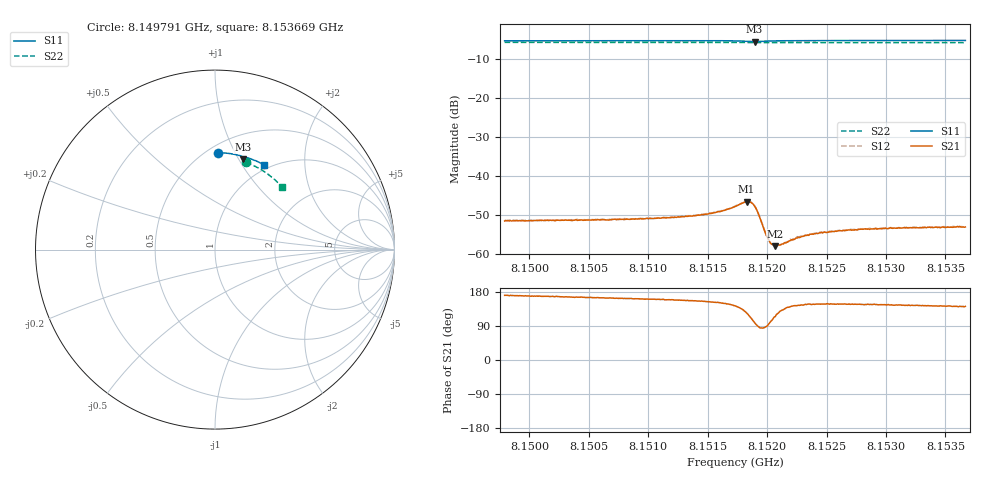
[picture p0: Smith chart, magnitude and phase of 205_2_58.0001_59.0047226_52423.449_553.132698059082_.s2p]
#  HZ  S  RI  R  50.00
! Rohde & Schwarz Vector Network Analyzer
! Rohde-Schwarz,ZNB20-2Port,1311601062101988,3.16
! Created: UTC 3/21/2024, 12:59:24 AM
! freq[Hz]  re:S11  im:S11  re:S21  im:S21  re:S12  im:S12  re:S22  im:S22
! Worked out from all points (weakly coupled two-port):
!   401 points, 8.149791 GHz to 8.153669 GHz, reference 50 ohm
!   highest |S21| = -46.66 dB at 8.151827 GHz (marker M1); lowest = -58.1 dB at 8.152069 GHz (marker M2)
!   lowest |S11| = -5.6 dB at 8.151895 GHz (marker M3), VSWR 3.23, Z = 37.3 + j52 ohm
!   |S11| at or under -10 dB: nowhere
!   |S22| runs from -5.8 to -5.7 dB; largest |S21 - S12| = 0.00012
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8.1497908e9  0.016 0.5397  -0.00259 0.000431  -0.00262 0.000488  0.173 0.4861
8.1504404e9  0.0616 0.5375  -0.00263 0.000658  -0.00261 0.000705  0.2118 0.4698
8.1510899e9  0.1071 0.5312  -0.00269 0.000972  -0.00266 0.001  0.2488 0.4502
8.1512935e9  0.1215 0.5283  -0.00275 0.00115  -0.00275 0.00118  0.2601 0.4435
8.1514875e9  0.1356 0.5246  -0.00289 0.0014  -0.00291 0.00148  0.2708 0.4368
8.1516523e9  0.1483 0.5201  -0.00314 0.00189  -0.00312 0.00192  0.2797 0.4309
8.1517298e9  0.1544 0.5164  -0.00321 0.00241  -0.0032 0.00249  0.2838 0.428
8.1518268e9  0.1596 0.5075  -0.00263 0.00383  -0.00259 0.00391  0.2887 0.4243
8.1518656e9  0.1575 0.5039  -0.00157 0.00425  -0.00156 0.0043  0.2903 0.4228
8.1518947e9  0.1547 0.5035  -0.000619 0.004  -0.000552 0.0041  0.2918 0.4216
8.1519237e9  0.1528 0.5057  7.25e-05 0.00333  0.000108 0.00336  0.2932 0.4208
8.1519819e9  0.1551 0.5114  0.000128 0.0019  0.000175 0.00194  0.2963 0.4188
8.152011e9  0.1577 0.5129  -0.000102 0.00153  -7.35e-05 0.00151  0.2977 0.4179
8.1520401e9  0.1604 0.5138  -0.000332 0.00127  -0.000316 0.0013  0.2993 0.4167
8.1520692e9  0.1635 0.5141  -0.000524 0.00113  -0.000535 0.00113  0.3008 0.4155
8.1521176e9  0.1678 0.5141  -0.000846 0.000995  -0.000829 0.00102  0.3033 0.4137
8.1522728e9  0.1803 0.5117  -0.00131 0.000943  -0.00134 0.000957  0.3114 0.4076
8.1523794e9  0.1883 0.5096  -0.0015 0.000981  -0.00148 0.00101  0.3167 0.4034
8.1524376e9  0.1923 0.5083  -0.00156 0.000983  -0.00157 0.00104  0.3195 0.401
8.1526121e9  0.2043 0.5041  -0.00167 0.00105  -0.00168 0.00109  0.3281 0.3938
8.153029e9  0.2317 0.493  -0.00175 0.00121  -0.00174 0.0012  0.3478 0.3757
8.1536689e9  0.2717 0.4733  -0.00172 0.00137  -0.0017 0.00139  0.376 0.3464
